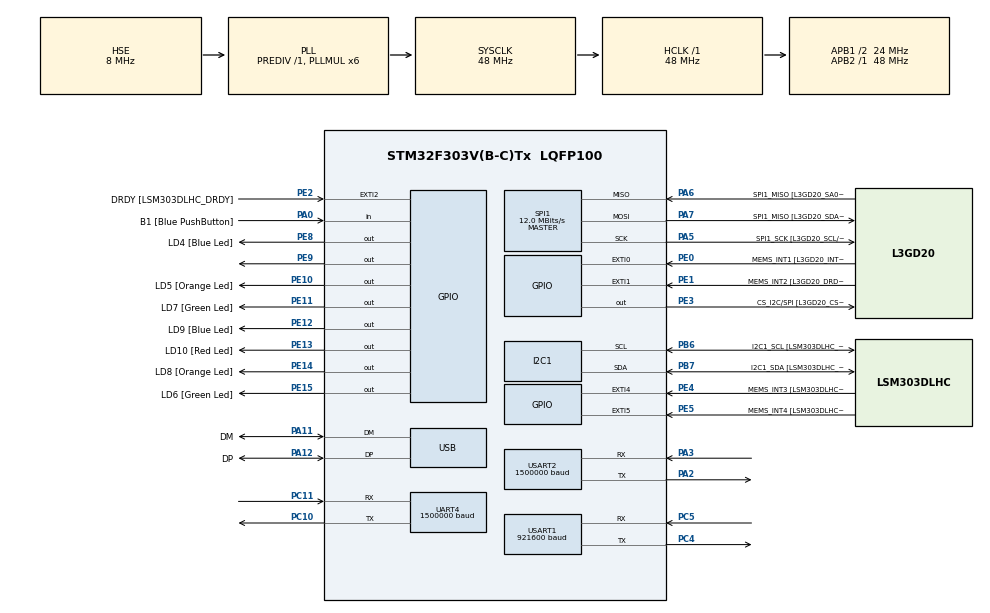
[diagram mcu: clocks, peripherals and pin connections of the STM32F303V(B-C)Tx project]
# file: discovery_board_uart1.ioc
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Dma.Request0=UART4_RX
Dma.UART4_RX.0.Direction=DMA_PERIPH_TO_MEMORY
Dma.UART4_RX.0.Instance=DMA2_Channel3
Dma.UART4_RX.0.MemDataAlignment=DMA_MDATAALIGN_BYTE
Dma.UART4_RX.0.MemInc=DMA_MINC_ENABLE
Dma.UART4_RX.0.Mode=DMA_CIRCULAR
Dma.UART4_RX.0.PeriphDataAlignment=DMA_PDATAALIGN_BYTE
Dma.UART4_RX.0.PeriphInc=DMA_PINC_DISABLE
Dma.UART4_RX.0.Priority=DMA_PRIORITY_LOW
I2C1.Timing=0x00201D2B
I2C1.Timing-I2C=0x2000090E
Mcu.Family=STM32F3
Mcu.Name=STM32F303V(B-C)Tx
Mcu.Package=LQFP100
NVIC.DMA2_Channel3_IRQn=true\:0\:0\:false\:false\:true\:false\:true\:true
NVIC.PriorityGroup=NVIC_PRIORITYGROUP_0
NVIC.TIM6_DAC_IRQn=true\:0\:0\:false\:false\:true\:true\:true\:true
NVIC.UART4_IRQn=true\:0\:0\:false\:false\:true\:true\:true\:true
PA0.GPIO_Label=B1 [Blue PushButton]
PA0.Signal=GPIO_Input
PA11.GPIO_Label=DM
PA11.Mode=Device
PA11.Signal=USB_DM
PA12.GPIO_Label=DP
PA12.Mode=Device
PA12.Signal=USB_DP
PA13.GPIO_Label=SWDIO
PA13.Mode=Serial_Wire
PA13.Signal=SYS_JTMS-SWDIO
PA14.GPIO_Label=SWCLK
PA14.Mode=Serial_Wire
PA14.Signal=SYS_JTCK-SWCLK
PA2.Mode=Asynchronous
PA2.Signal=USART2_TX
PA3.Mode=Asynchronous
PA3.Signal=USART2_RX
PA5.GPIO_Label=SPI1_SCK [L3GD20_SCL/SPC]
PA5.Mode=Full_Duplex_Master
PA5.Signal=SPI1_SCK
PA6.GPIO_Label=SPI1_MISO [L3GD20_SA0/SDO]
PA6.Mode=Full_Duplex_Master
PA6.Signal=SPI1_MISO
PA7.GPIO_Label=SPI1_MISO [L3GD20_SDA/SDI/SDO]
PA7.Mode=Full_Duplex_Master
PA7.Signal=SPI1_MOSI
PB3.GPIO_Label=SWO
PB3.Signal=SYS_JTDO-TRACESWO
PB6.GPIO_Label=I2C1_SCL [LSM303DLHC_SCL]
PB6.GPIO_Pu=GPIO_PULLUP
PB6.Mode=I2C
PB6.Signal=I2C1_SCL
PB7.GPIO_Label=I2C1_SDA [LSM303DLHC_SDA]
PB7.GPIO_Pu=GPIO_PULLUP
PB7.Mode=I2C
PB7.Signal=I2C1_SDA
PC10.Mode=Asynchronous
PC10.Signal=UART4_TX
PC11.Mode=Asynchronous
PC11.Signal=UART4_RX
PC14-OSC32_IN.GPIO_Label=OSC32_IN
PC14-OSC32_IN.Signal=RCC_OSC32_IN
PC15-OSC32_OUT.GPIO_Label=OSC32_OUT
PC15-OSC32_OUT.Signal=RCC_OSC32_OUT
PC4.Mode=Asynchronous
PC4.Signal=USART1_TX
PC5.Mode=Asynchronous
PC5.Signal=USART1_RX
PE0.GPIO_Label=MEMS_INT1 [L3GD20_INT1]
PE0.GPIO_ModeDefaultEXTI=GPIO_MODE_EVT_RISING
PE0.Signal=GPXTI0
PE1.GPIO_Label=MEMS_INT2 [L3GD20_DRDY/INT2]
PE1.GPIO_ModeDefaultEXTI=GPIO_MODE_EVT_RISING
PE1.Signal=GPXTI1
PE10.GPIO_Label=LD5 [Orange Led]
PE10.Signal=GPIO_Output
PE11.GPIO_Label=LD7 [Green Led]
PE11.Signal=GPIO_Output
PE12.GPIO_Label=LD9 [Blue Led]
PE12.Signal=GPIO_Output
PE13.GPIO_Label=LD10 [Red Led]
PE13.Signal=GPIO_Output
PE14.GPIO_Label=LD8 [Orange Led]
PE14.Signal=GPIO_Output
PE15.GPIO_Label=LD6 [Green Led]
PE15.Signal=GPIO_Output
PE2.GPIO_Label=DRDY [LSM303DLHC_DRDY]
PE2.GPIO_ModeDefaultEXTI=GPIO_MODE_EVT_RISING
PE2.Signal=GPXTI2
PE3.GPIO_Label=CS_I2C/SPI [L3GD20_CS_I2C/SPI]
PE3.Signal=GPIO_Output
PE4.GPIO_Label=MEMS_INT3 [LSM303DLHC_INT1]
PE4.GPIO_ModeDefaultEXTI=GPIO_MODE_EVT_RISING
PE4.Signal=GPXTI4
PE5.GPIO_Label=MEMS_INT4 [LSM303DLHC_INT2]
PE5.GPIO_ModeDefaultEXTI=GPIO_MODE_EVT_RISING
PE5.Signal=GPXTI5
PE8.GPIO_Label=LD4 [Blue Led]
PE8.Signal=GPIO_Output
PE9.Signal=GPIO_Output
PF0-OSC_IN.GPIO_Label=OSC_IN
PF0-OSC_IN.Mode=HSE-External-Clock-Source
PF0-OSC_IN.Signal=RCC_OSC_IN
PF1-OSC_OUT.GPIO_Label=OSC_OUT
PF1-OSC_OUT.Signal=RCC_OSC_OUT
ProjectManager.HeapSize=0x200
ProjectManager.StackSize=0x400
ProjectManager.TargetToolchain=STM32CubeIDE
RCC.AHBFreq_Value=48000000
RCC.APB1CLKDivider=RCC_HCLK_DIV2
RCC.APB1Freq_Value=24000000
RCC.APB1TimFreq_Value=48000000
RCC.APB2Freq_Value=48000000
RCC.APB2TimFreq_Value=48000000
RCC.CortexFreq_Value=48000000
RCC.HCLKFreq_Value=48000000
RCC.HSE_VALUE=8000000
RCC.HSI_VALUE=8000000
RCC.LSE_VALUE=32768
RCC.PLLMUL=RCC_PLL_MUL6
RCC.SYSCLKFreq_VALUE=48000000
RCC.SYSCLKSourceVirtual=RCC_SYSCLKSOURCE_PLLCLK
RCC.USBFreq_Value=48000000
SPI1.BaudRatePrescaler=SPI_BAUDRATEPRESCALER_4
SPI1.BaudRatePrescaler-Full_Duplex_Master=SPI_BAUDRATEPRESCALER_2
SPI1.CalculateBaudRate=12.0 MBits/s
SPI1.CalculateBaudRate-Full_Duplex_Master=24.0 MBits/s
SPI1.Direction=SPI_DIRECTION_2LINES
SPI1.Mode=SPI_MODE_MASTER
SPI1.Mode-Full_Duplex_Master=SPI_MODE_MASTER
SPI1.VirtualType=VM_MASTER
TIM6.Period=30000-1
TIM6.Prescaler=48-1
UART4.BaudRate=1500000
USART1.BaudRate=921600
USART1.VirtualMode-Asynchronous=VM_ASYNC
USART2.BaudRate=1500000
USART2.VirtualMode-Asynchronous=VM_ASYNC
VP_TIM6_VS_ClockSourceINT.Mode=Enable_Timer
board=STM32F3DISCOVERY

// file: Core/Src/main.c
/* USER CODE BEGIN Header */
/**
  ******************************************************************************
  * @file           : main.c
  * @brief          : Main program body
  ******************************************************************************
  * @attention
  *
  * Copyright (c) 2025 STMicroelectronics.
  * All rights reserved.
  *
  * This software is licensed under terms that can be found in the LICENSE file
  * in the root directory of this software component.
  * If no LICENSE file comes with this software, it is provided AS-IS.
  *
  ******************************************************************************
  */
/* USER CODE END Header */
#include "main.h"

/* USER CODE BEGIN Includes */

#include <stdio.h>
#include <string.h>

/* USER CODE END Includes */

/* USER CODE BEGIN PD */

#define BUFFER_SIZE 64

/* USER CODE END PD */

I2C_HandleTypeDef hi2c1;

SPI_HandleTypeDef hspi1;

TIM_HandleTypeDef htim6;

UART_HandleTypeDef huart4;
UART_HandleTypeDef huart1;
UART_HandleTypeDef huart2;
DMA_HandleTypeDef hdma_uart4_rx;

PCD_HandleTypeDef hpcd_USB_FS;

/* USER CODE BEGIN PV */

uint32_t loop_cnt;

char transmit_buffer[BUFFER_SIZE];
char receive_buffer[BUFFER_SIZE];
uint8_t dma_buffer[BUFFER_SIZE];

/* USER CODE END PV */

void SystemClock_Config(void);
static void MX_GPIO_Init(void);
static void MX_DMA_Init(void);
static void MX_I2C1_Init(void);
static void MX_SPI1_Init(void);
static void MX_USB_PCD_Init(void);
static void MX_USART1_UART_Init(void);
static void MX_UART4_Init(void);
static void MX_USART2_UART_Init(void);
static void MX_TIM6_Init(void);

/* USER CODE BEGIN 0 */

// Send printf to uart1
int _write(int fd, char* ptr, int len) {
  HAL_StatusTypeDef hstatus;

  if (fd == 1 || fd == 2) {
    hstatus = HAL_UART_Transmit(&huart1, (uint8_t *) ptr, len, HAL_MAX_DELAY);
    if (hstatus == HAL_OK)
      return len;
    else
      return -1;
  }
  return -1;
}

void HAL_TIM_PeriodElapsedCallback(TIM_HandleTypeDef *htim) {
    if (htim->Instance == TIM6) {
        HAL_GPIO_WritePin(GPIOE, GPIO_PIN_13, GPIO_PIN_RESET); // Off LED
        HAL_TIM_Base_Stop(&htim6); // Kill the Timer
    }
}

void led_flash() {
    HAL_GPIO_WritePin(GPIOE, GPIO_PIN_13, GPIO_PIN_SET);
    if (__HAL_TIM_GET_COUNTER(&htim6) == 1) {
        HAL_TIM_Base_Start_IT(&htim6);
    } else { // Timer is already running
        __HAL_TIM_SET_COUNTER(&htim6, 1);
    }
}

void process_character(char ch) {
    static uint32_t strlen = 0;
    switch (ch) {
    case '\0':
        printf("Received    : %s\r\n", receive_buffer);
        receive_buffer[0] = '\0';
        strlen = 0;
        break;
    default:
        if (strlen < BUFFER_SIZE) {
            strncat((char*) &receive_buffer, &ch, 1); // Danger, Will Robinson!  this could go horribly wrong!
            ++strlen;
        }

    }
}

void HAL_UARTEx_RxEventCallback(UART_HandleTypeDef *huart, uint16_t offset) {

    static uint16_t last_offset = 0;

    //printf("Offset %d\n", offset);
    led_flash();

    // Ignore if called twice (which will happen on every half buffer)
    if (offset != last_offset) {

        // If wrap around reset last_size
        if (offset < last_offset)
            last_offset = 0;

        while (last_offset < offset) {
            process_character((char) dma_buffer[last_offset]);
            ++last_offset;
        }
    }
}

void HAL_UART_ErrorCallback(UART_HandleTypeDef *huart) {
    printf("UART Error\n");
    Error_Handler();
}

/* USER CODE END 0 */

int main(void)
{

  /* MCU Configuration--------------------------------------------------------*/

  /* Reset of all peripherals, Initializes the Flash interface and the Systick. */
  HAL_Init();

  /* Configure the system clock */
  SystemClock_Config();

  /* Initialize all configured peripherals */
  MX_GPIO_Init();
  MX_DMA_Init();
  MX_I2C1_Init();
  MX_SPI1_Init();
  MX_USB_PCD_Init();
  MX_USART1_UART_Init();
  MX_UART4_Init();
  MX_USART2_UART_Init();
  MX_TIM6_Init();
  /* USER CODE BEGIN 2 */

  printf("\r\n\r\nUART1 starting --------------\r\n");

  HAL_UARTEx_ReceiveToIdle_DMA(&huart4, (uint8_t*) &dma_buffer, BUFFER_SIZE);

  /* USER CODE END 2 */

  /* Infinite loop */
  /* USER CODE BEGIN WHILE */
  uint32_t now = 0, next_tick = 1000, next_tx = 1000, tx_cnt = 1;
  while (1)
  {
	  now = uwTick;

	  if ( now >= next_tick) {

		  printf("Tick %lu ( loop = %lu)\r\n", now / 1000, loop_cnt);

		  loop_cnt = 0;
		  next_tick = now + 1000;
	  }

	  if (now >= next_tx) {

		  sprintf(transmit_buffer, "This is a reasonable long data string with a number %lu", tx_cnt);

		  printf("Transmitting: %s\r\n", transmit_buffer);

		  HAL_UART_Transmit(&huart2, (uint8_t*) &transmit_buffer, strlen(transmit_buffer) + 1, HAL_MAX_DELAY);

		  ++tx_cnt;
		  next_tx = now + 1000;
	  }

	  ++loop_cnt;
    /* USER CODE END WHILE */

  }
}

void SystemClock_Config(void)
{
  RCC_OscInitTypeDef RCC_OscInitStruct = {0};
  RCC_ClkInitTypeDef RCC_ClkInitStruct = {0};
  RCC_PeriphCLKInitTypeDef PeriphClkInit = {0};

  /** Initializes the RCC Oscillators according to the specified parameters
  * in the RCC_OscInitTypeDef structure.
  */
  RCC_OscInitStruct.OscillatorType = RCC_OSCILLATORTYPE_HSI|RCC_OSCILLATORTYPE_HSE;
  RCC_OscInitStruct.HSEState = RCC_HSE_BYPASS;
  RCC_OscInitStruct.HSEPredivValue = RCC_HSE_PREDIV_DIV1;
  RCC_OscInitStruct.HSIState = RCC_HSI_ON;
  RCC_OscInitStruct.HSICalibrationValue = RCC_HSICALIBRATION_DEFAULT;
  RCC_OscInitStruct.PLL.PLLState = RCC_PLL_ON;
  RCC_OscInitStruct.PLL.PLLSource = RCC_PLLSOURCE_HSE;
  RCC_OscInitStruct.PLL.PLLMUL = RCC_PLL_MUL6;
  if (HAL_RCC_OscConfig(&RCC_OscInitStruct) != HAL_OK)
  {
    Error_Handler();
  }

  /** Initializes the CPU, AHB and APB buses clocks
  */
  RCC_ClkInitStruct.ClockType = RCC_CLOCKTYPE_HCLK|RCC_CLOCKTYPE_SYSCLK
                              |RCC_CLOCKTYPE_PCLK1|RCC_CLOCKTYPE_PCLK2;
  RCC_ClkInitStruct.SYSCLKSource = RCC_SYSCLKSOURCE_PLLCLK;
  RCC_ClkInitStruct.AHBCLKDivider = RCC_SYSCLK_DIV1;
  RCC_ClkInitStruct.APB1CLKDivider = RCC_HCLK_DIV2;
  RCC_ClkInitStruct.APB2CLKDivider = RCC_HCLK_DIV1;

  if (HAL_RCC_ClockConfig(&RCC_ClkInitStruct, FLASH_LATENCY_1) != HAL_OK)
  {
    Error_Handler();
  }
  PeriphClkInit.PeriphClockSelection = RCC_PERIPHCLK_USB|RCC_PERIPHCLK_USART1
                              |RCC_PERIPHCLK_USART2|RCC_PERIPHCLK_UART4
                              |RCC_PERIPHCLK_I2C1;
  PeriphClkInit.Usart1ClockSelection = RCC_USART1CLKSOURCE_PCLK2;
  PeriphClkInit.Usart2ClockSelection = RCC_USART2CLKSOURCE_PCLK1;
  PeriphClkInit.Uart4ClockSelection = RCC_UART4CLKSOURCE_PCLK1;
  PeriphClkInit.I2c1ClockSelection = RCC_I2C1CLKSOURCE_HSI;
  PeriphClkInit.USBClockSelection = RCC_USBCLKSOURCE_PLL;
  if (HAL_RCCEx_PeriphCLKConfig(&PeriphClkInit) != HAL_OK)
  {
    Error_Handler();
  }
}

static void MX_I2C1_Init(void)
{

  hi2c1.Instance = I2C1;
  hi2c1.Init.Timing = 0x00201D2B;
  hi2c1.Init.OwnAddress1 = 0;
  hi2c1.Init.AddressingMode = I2C_ADDRESSINGMODE_7BIT;
  hi2c1.Init.DualAddressMode = I2C_DUALADDRESS_DISABLE;
  hi2c1.Init.OwnAddress2 = 0;
  hi2c1.Init.OwnAddress2Masks = I2C_OA2_NOMASK;
  hi2c1.Init.GeneralCallMode = I2C_GENERALCALL_DISABLE;
  hi2c1.Init.NoStretchMode = I2C_NOSTRETCH_DISABLE;
  if (HAL_I2C_Init(&hi2c1) != HAL_OK)
  {
    Error_Handler();
  }

  /** Configure Analogue filter
  */
  if (HAL_I2CEx_ConfigAnalogFilter(&hi2c1, I2C_ANALOGFILTER_ENABLE) != HAL_OK)
  {
    Error_Handler();
  }

  /** Configure Digital filter
  */
  if (HAL_I2CEx_ConfigDigitalFilter(&hi2c1, 0) != HAL_OK)
  {
    Error_Handler();
  }

}

static void MX_SPI1_Init(void)
{

  /* SPI1 parameter configuration*/
  hspi1.Instance = SPI1;
  hspi1.Init.Mode = SPI_MODE_MASTER;
  hspi1.Init.Direction = SPI_DIRECTION_2LINES;
  hspi1.Init.DataSize = SPI_DATASIZE_4BIT;
  hspi1.Init.CLKPolarity = SPI_POLARITY_LOW;
  hspi1.Init.CLKPhase = SPI_PHASE_1EDGE;
  hspi1.Init.NSS = SPI_NSS_SOFT;
  hspi1.Init.BaudRatePrescaler = SPI_BAUDRATEPRESCALER_4;
  hspi1.Init.FirstBit = SPI_FIRSTBIT_MSB;
  hspi1.Init.TIMode = SPI_TIMODE_DISABLE;
  hspi1.Init.CRCCalculation = SPI_CRCCALCULATION_DISABLE;
  hspi1.Init.CRCPolynomial = 7;
  hspi1.Init.CRCLength = SPI_CRC_LENGTH_DATASIZE;
  hspi1.Init.NSSPMode = SPI_NSS_PULSE_ENABLE;
  if (HAL_SPI_Init(&hspi1) != HAL_OK)
  {
    Error_Handler();
  }

}

static void MX_TIM6_Init(void)
{

  TIM_MasterConfigTypeDef sMasterConfig = {0};

  htim6.Instance = TIM6;
  htim6.Init.Prescaler = 48-1;
  htim6.Init.CounterMode = TIM_COUNTERMODE_UP;
  htim6.Init.Period = 30000-1;
  htim6.Init.AutoReloadPreload = TIM_AUTORELOAD_PRELOAD_DISABLE;
  if (HAL_TIM_Base_Init(&htim6) != HAL_OK)
  {
    Error_Handler();
  }
  sMasterConfig.MasterOutputTrigger = TIM_TRGO_RESET;
  sMasterConfig.MasterSlaveMode = TIM_MASTERSLAVEMODE_DISABLE;
  if (HAL_TIMEx_MasterConfigSynchronization(&htim6, &sMasterConfig) != HAL_OK)
  {
    Error_Handler();
  }

}

static void MX_UART4_Init(void)
{

  huart4.Instance = UART4;
  huart4.Init.BaudRate = 1500000;
  huart4.Init.WordLength = UART_WORDLENGTH_8B;
  huart4.Init.StopBits = UART_STOPBITS_1;
  huart4.Init.Parity = UART_PARITY_NONE;
  huart4.Init.Mode = UART_MODE_TX_RX;
  huart4.Init.HwFlowCtl = UART_HWCONTROL_NONE;
  huart4.Init.OverSampling = UART_OVERSAMPLING_16;
  huart4.Init.OneBitSampling = UART_ONE_BIT_SAMPLE_DISABLE;
  huart4.AdvancedInit.AdvFeatureInit = UART_ADVFEATURE_NO_INIT;
  if (HAL_UART_Init(&huart4) != HAL_OK)
  {
    Error_Handler();
  }

}

static void MX_USART1_UART_Init(void)
{

  huart1.Instance = USART1;
  huart1.Init.BaudRate = 921600;
  huart1.Init.WordLength = UART_WORDLENGTH_8B;
  huart1.Init.StopBits = UART_STOPBITS_1;
  huart1.Init.Parity = UART_PARITY_NONE;
  huart1.Init.Mode = UART_MODE_TX_RX;
  huart1.Init.HwFlowCtl = UART_HWCONTROL_NONE;
  huart1.Init.OverSampling = UART_OVERSAMPLING_16;
  huart1.Init.OneBitSampling = UART_ONE_BIT_SAMPLE_DISABLE;
  huart1.AdvancedInit.AdvFeatureInit = UART_ADVFEATURE_NO_INIT;
  if (HAL_UART_Init(&huart1) != HAL_OK)
  {
    Error_Handler();
  }

}

static void MX_USART2_UART_Init(void)
{

  huart2.Instance = USART2;
  huart2.Init.BaudRate = 1500000;
  huart2.Init.WordLength = UART_WORDLENGTH_8B;
  huart2.Init.StopBits = UART_STOPBITS_1;
  huart2.Init.Parity = UART_PARITY_NONE;
  huart2.Init.Mode = UART_MODE_TX_RX;
  huart2.Init.HwFlowCtl = UART_HWCONTROL_NONE;
  huart2.Init.OverSampling = UART_OVERSAMPLING_16;
  huart2.Init.OneBitSampling = UART_ONE_BIT_SAMPLE_DISABLE;
  huart2.AdvancedInit.AdvFeatureInit = UART_ADVFEATURE_NO_INIT;
  if (HAL_UART_Init(&huart2) != HAL_OK)
  {
    Error_Handler();
  }

}

static void MX_USB_PCD_Init(void)
{

  hpcd_USB_FS.Instance = USB;
  hpcd_USB_FS.Init.dev_endpoints = 8;
  hpcd_USB_FS.Init.speed = PCD_SPEED_FULL;
  hpcd_USB_FS.Init.phy_itface = PCD_PHY_EMBEDDED;
  hpcd_USB_FS.Init.low_power_enable = DISABLE;
  hpcd_USB_FS.Init.battery_charging_enable = DISABLE;
  if (HAL_PCD_Init(&hpcd_USB_FS) != HAL_OK)
  {
    Error_Handler();
  }

}

static void MX_DMA_Init(void)
{

  /* DMA controller clock enable */
  __HAL_RCC_DMA2_CLK_ENABLE();

  /* DMA interrupt init */
  /* DMA2_Channel3_IRQn interrupt configuration */
  HAL_NVIC_SetPriority(DMA2_Channel3_IRQn, 0, 0);
  HAL_NVIC_EnableIRQ(DMA2_Channel3_IRQn);

}

static void MX_GPIO_Init(void)
{
  GPIO_InitTypeDef GPIO_InitStruct = {0};

  /* GPIO Ports Clock Enable */
  __HAL_RCC_GPIOE_CLK_ENABLE();
  __HAL_RCC_GPIOC_CLK_ENABLE();
  __HAL_RCC_GPIOF_CLK_ENABLE();
  __HAL_RCC_GPIOA_CLK_ENABLE();
  __HAL_RCC_GPIOB_CLK_ENABLE();

  /*Configure GPIO pin Output Level */
  HAL_GPIO_WritePin(GPIOE, CS_I2C_SPI_Pin|LD4_Pin|GPIO_PIN_9|LD5_Pin
                          |LD7_Pin|LD9_Pin|LD10_Pin|LD8_Pin
                          |LD6_Pin, GPIO_PIN_RESET);

  /*Configure GPIO pins : DRDY_Pin MEMS_INT3_Pin MEMS_INT4_Pin MEMS_INT1_Pin
                           MEMS_INT2_Pin */
  GPIO_InitStruct.Pin = DRDY_Pin|MEMS_INT3_Pin|MEMS_INT4_Pin|MEMS_INT1_Pin
                          |MEMS_INT2_Pin;
  GPIO_InitStruct.Mode = GPIO_MODE_EVT_RISING;
  GPIO_InitStruct.Pull = GPIO_NOPULL;
  HAL_GPIO_Init(GPIOE, &GPIO_InitStruct);

  /*Configure GPIO pins : CS_I2C_SPI_Pin LD4_Pin PE9 LD5_Pin
                           LD7_Pin LD9_Pin LD10_Pin LD8_Pin
                           LD6_Pin */
  GPIO_InitStruct.Pin = CS_I2C_SPI_Pin|LD4_Pin|GPIO_PIN_9|LD5_Pin
                          |LD7_Pin|LD9_Pin|LD10_Pin|LD8_Pin
                          |LD6_Pin;
  GPIO_InitStruct.Mode = GPIO_MODE_OUTPUT_PP;
  GPIO_InitStruct.Pull = GPIO_NOPULL;
  GPIO_InitStruct.Speed = GPIO_SPEED_FREQ_LOW;
  HAL_GPIO_Init(GPIOE, &GPIO_InitStruct);

  /*Configure GPIO pin : B1_Pin */
  GPIO_InitStruct.Pin = B1_Pin;
  GPIO_InitStruct.Mode = GPIO_MODE_INPUT;
  GPIO_InitStruct.Pull = GPIO_NOPULL;
  HAL_GPIO_Init(B1_GPIO_Port, &GPIO_InitStruct);

}

void Error_Handler(void)
{
  __disable_irq();
  while (1)
  {
  }
}
